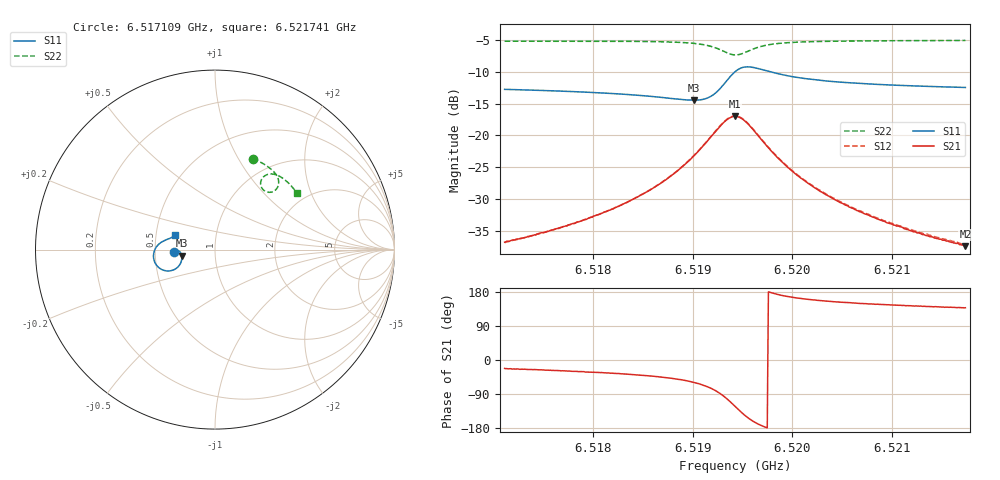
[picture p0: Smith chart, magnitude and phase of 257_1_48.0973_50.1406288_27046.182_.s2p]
#  HZ  S  RI  R  50.00
! Rohde & Schwarz Vector Network Analyzer
! Rohde-Schwarz,ZNB20-2Port,1311601062101988,3.16
! Created: UTC 12/23/2023, 4:00:22 AM
! freq[Hz]  re:S11  im:S11  re:S21  im:S21  re:S12  im:S12  re:S22  im:S22
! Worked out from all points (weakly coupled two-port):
!   401 points, 6.517109 GHz to 6.521741 GHz, reference 50 ohm
!   highest |S21| = -17.01 dB at 6.519425 GHz (marker M1); lowest = -37.4 dB at 6.521741 GHz (marker M2)
!   lowest |S11| = -14.5 dB at 6.519008 GHz (marker M3), VSWR 1.47, Z = 34.3 - j2.44 ohm
!   |S11| at or under -10 dB: start of sweep to 6.519426 GHz; 6.519777 GHz to end of sweep
!   |S22| runs from -7.4 to -5.1 dB; largest |S21 - S12| = 0.0043
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6.5171091e9  -0.2295 -0.0147  0.0135 -0.00549  0.0134 -0.00509  0.2109 0.5063
6.517526e9  -0.2246 -0.00898  0.0156 -0.00787  0.0159 -0.00736  0.2416 0.4928
6.517885e9  -0.2192 -0.00495  0.0185 -0.0109  0.0188 -0.0103  0.2681 0.4789
6.5183598e9  -0.2092 -0.00354  0.0241 -0.0187  0.0246 -0.0179  0.3038 0.4555
6.5186609e9  -0.1996 -0.00852  0.0295 -0.0289  0.0306 -0.0281  0.3272 0.4344
6.5188347e9  -0.1925 -0.0168  0.0333 -0.0397  0.0346 -0.0389  0.3408 0.4178
6.5190084e9  -0.1858 -0.0343  0.0356 -0.0587  0.0376 -0.0582  0.3522 0.3936
6.5191126e9  -0.1852 -0.0533  0.0329 -0.0774  0.0355 -0.0769  0.3549 0.3727
6.5192052e9  -0.1928 -0.0782  0.0222 -0.0997  0.0253 -0.0999  0.3495 0.3493
6.5193326e9  -0.2366 -0.1151  -0.0224 -0.129  -0.0188 -0.1305  0.3155 0.3207
6.519379e9  -0.2652 -0.119  -0.0487 -0.1293  -0.0452 -0.1318  0.2947 0.3198
6.5194253e9  -0.2958 -0.1114  -0.0751 -0.1194  -0.0723 -0.1226  0.2743 0.3283
6.5194716e9  -0.3214 -0.0922  -0.0958 -0.0998  -0.0938 -0.1035  0.2598 0.3451
6.5195295e9  -0.3394 -0.0601  -0.1083 -0.0698  -0.1072 -0.0736  0.2541 0.37
6.5196222e9  -0.3398 -0.0131  -0.1034 -0.0297  -0.1036 -0.0328  0.2663 0.4013
6.5197264e9  -0.3235 0.019  -0.086 -0.0046  -0.0866 -0.00715  0.2896 0.4174
6.519958e9  -0.2898 0.0465  -0.0546 0.0121  -0.0557 0.0108  0.3313 0.4193
6.5202012e9  -0.2691 0.0559  -0.0374 0.0145  -0.0383 0.0135  0.3602 0.4081
6.5205718e9  -0.2513 0.0629  -0.0241 0.0132  -0.0249 0.0128  0.3911 0.3869
6.5209771e9  -0.2394 0.0688  -0.0169 0.0115  -0.0174 0.0114  0.4176 0.3628
6.521313e9  -0.2321 0.0734  -0.013 0.0104  -0.0136 0.0102  0.4364 0.3422
6.5217415e9  -0.2244 0.0791  -0.01 0.00908  -0.0105 0.00919  0.4578 0.3158
